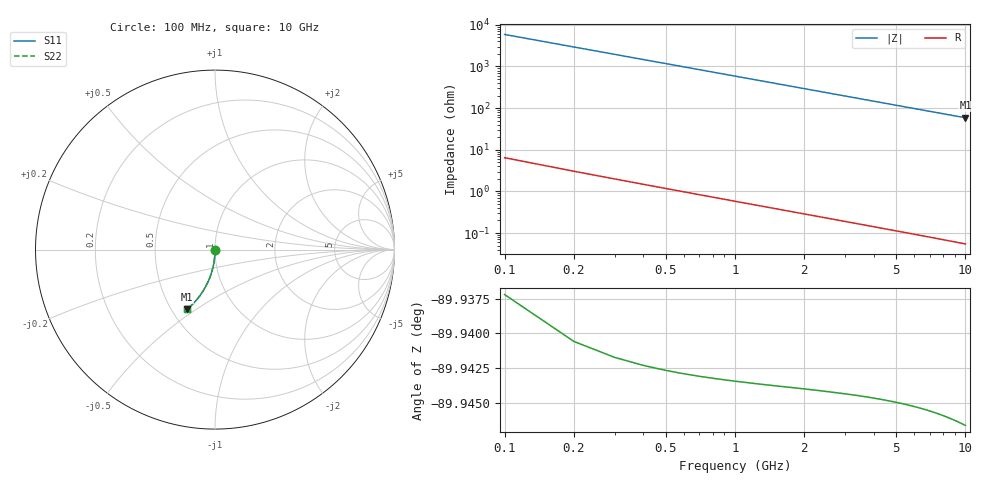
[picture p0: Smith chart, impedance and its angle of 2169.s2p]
# Hz S RI R 50.00
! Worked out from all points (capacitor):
!   100 points, 100 MHz to 10 GHz, reference 50 ohm
!   read as one part in shunt: C = 271 fF near 100 MHz
!   lowest |Z| = 58.7 ohm at 10 GHz (marker M1)
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1e8  0.000102 -0.00395  0.9999 -0.00456  0.9999 -0.00456  0.000102 -0.00395
2e8  4.44e-05 -0.00791  0.9998 -0.00912  0.9998 -0.00912  4.44e-05 -0.00791
3e8  -4.93e-05 -0.0119  0.9997 -0.0137  0.9997 -0.0137  -4.93e-05 -0.0119
4e8  -0.000179 -0.0158  0.9996 -0.0182  0.9996 -0.0182  -0.000179 -0.0158
5e8  -0.000345 -0.0198  0.9994 -0.0228  0.9994 -0.0228  -0.000345 -0.0198
6e8  -0.000547 -0.0237  0.9992 -0.0273  0.9992 -0.0273  -0.000547 -0.0237
7e8  -0.000785 -0.0277  0.999 -0.0319  0.999 -0.0319  -0.000785 -0.0277
8e8  -0.00106 -0.0316  0.9987 -0.0364  0.9987 -0.0364  -0.00106 -0.0316
9e8  -0.00137 -0.0355  0.9984 -0.041  0.9984 -0.041  -0.00137 -0.0355
1.1e9  -0.0021 -0.0434  0.9976 -0.0501  0.9976 -0.0501  -0.0021 -0.0434
1.4e9  -0.00345 -0.0552  0.9963 -0.0636  0.9963 -0.0636  -0.00345 -0.0552
1.8e9  -0.00576 -0.0708  0.9939 -0.0817  0.9939 -0.0817  -0.00576 -0.0708
2.1e9  -0.00786 -0.0824  0.9918 -0.0951  0.9918 -0.0951  -0.00786 -0.0824
2.5e9  -0.0111 -0.0978  0.9885 -0.1129  0.9885 -0.1129  -0.0111 -0.0978
2.9e9  -0.015 -0.113  0.9846 -0.1306  0.9846 -0.1306  -0.015 -0.113
3.4e9  -0.0205 -0.1318  0.979 -0.1524  0.979 -0.1524  -0.0205 -0.1318
4.2e9  -0.0311 -0.161  0.9683 -0.1865  0.9683 -0.1865  -0.0311 -0.161
5.1e9  -0.0452 -0.1927  0.954 -0.2237  0.954 -0.2237  -0.0452 -0.1927
5.9e9  -0.0598 -0.2195  0.9393 -0.2554  0.9393 -0.2554  -0.0598 -0.2195
6.7e9  -0.0759 -0.2449  0.9229 -0.2857  0.9229 -0.2857  -0.0759 -0.2449
8.4e9  -0.1149 -0.2938  0.8834 -0.3451  0.8834 -0.3451  -0.1149 -0.2938
1e10  -0.1561 -0.3329  0.8417 -0.3942  0.8417 -0.3942  -0.1561 -0.3329
